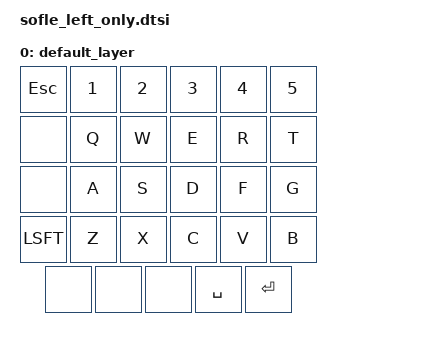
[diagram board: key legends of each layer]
/ {
    keymap {
        compatible = "zmk,keymap";

        default_layer {
            bindings = <
                // Row 0 — 13 touches
                &kp ESC &kp 1  &kp 2  &kp 3  &kp 4  &kp 5      

                // Row 1 — 13 touches
                &none &kp Q  &kp W  &kp E  &kp R  &kp T      

                // Row 2 — 13 touches
                &none  &kp A  &kp S  &kp D  &kp F  &kp G      

                // Row 3 — 13 touches
                &kp LSFT  &kp Z  &kp X  &kp C  &kp V  &kp B    

                // Row 4 — 12 touches
                &none  &none  &none  &kp SPACE &kp ENTER    
            >;
        };
    };
};
